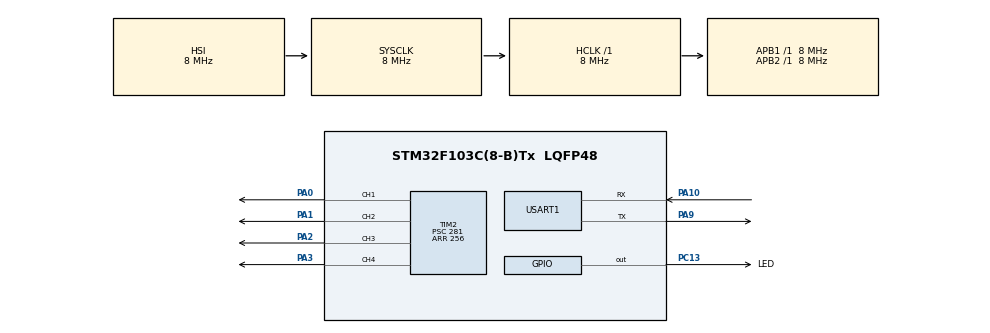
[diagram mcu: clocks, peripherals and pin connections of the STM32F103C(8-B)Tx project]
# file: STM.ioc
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Mcu.Family=STM32F1
Mcu.Name=STM32F103C(8-B)Tx
Mcu.Package=LQFP48
NVIC.PriorityGroup=NVIC_PRIORITYGROUP_4
NVIC.TIM2_IRQn=true\:0\:0\:false\:false\:true\:true\:true
PA0-WKUP.GPIO_Speed=GPIO_SPEED_FREQ_HIGH
PA0-WKUP.Signal=S_TIM2_CH1_ETR
PA1.GPIO_Speed=GPIO_SPEED_FREQ_HIGH
PA1.Signal=S_TIM2_CH2
PA10.Mode=Asynchronous
PA10.Signal=USART1_RX
PA2.GPIO_Speed=GPIO_SPEED_FREQ_HIGH
PA2.Signal=S_TIM2_CH3
PA3.GPIO_Speed=GPIO_SPEED_FREQ_HIGH
PA3.Signal=S_TIM2_CH4
PA9.Mode=Asynchronous
PA9.Signal=USART1_TX
PC13-TAMPER-RTC.GPIO_Label=LED
PC13-TAMPER-RTC.Signal=GPIO_Output
PD0-OSC_IN.Mode=HSE-External-Oscillator
PD0-OSC_IN.Signal=RCC_OSC_IN
PD1-OSC_OUT.Mode=HSE-External-Oscillator
PD1-OSC_OUT.Signal=RCC_OSC_OUT
ProjectManager.HeapSize=0x200
ProjectManager.StackSize=0x400
ProjectManager.TargetToolchain=MDK-ARM V5
RCC.AHBFreq_Value=8000000
RCC.APB1Freq_Value=8000000
RCC.APB1TimFreq_Value=8000000
RCC.APB2Freq_Value=8000000
RCC.APB2TimFreq_Value=8000000
RCC.HCLKFreq_Value=8000000
RCC.SYSCLKFreq_VALUE=8000000
RCC.USBFreq_Value=8000000
SH.S_TIM2_CH1_ETR.0=TIM2_CH1,PWM Generation1 CH1
SH.S_TIM2_CH2.0=TIM2_CH2,PWM Generation2 CH2
SH.S_TIM2_CH3.0=TIM2_CH3,PWM Generation3 CH3
SH.S_TIM2_CH4.0=TIM2_CH4,PWM Generation4 CH4
TIM2.Channel-PWM\ Generation1\ CH1=TIM_CHANNEL_1
TIM2.Channel-PWM\ Generation2\ CH2=TIM_CHANNEL_2
TIM2.Channel-PWM\ Generation3\ CH3=TIM_CHANNEL_3
TIM2.Channel-PWM\ Generation4\ CH4=TIM_CHANNEL_4
TIM2.Period=256
TIM2.Prescaler=281
USART1.VirtualMode=VM_ASYNC
VP_SYS_VS_ND.Mode=No_Debug
VP_TIM2_VS_ClockSourceINT.Mode=Internal
board=custom

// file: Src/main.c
/* USER CODE BEGIN Header */
/**
  ******************************************************************************
  * @file           : main.c
  * @brief          : Main program body
  ******************************************************************************
  * @attention
  *
  * <h2><center>&copy; Copyright (c) 2020 STMicroelectronics.
  * All rights reserved.</center></h2>
  *
  * This software component is licensed by ST under BSD 3-Clause license,
  * the "License"; You may not use this file except in compliance with the
  * License. You may obtain a copy of the License at:
  *                        opensource.org/licenses/BSD-3-Clause
  *
  ******************************************************************************
  */
/* USER CODE END Header */

#include "main.h"
#include "tim.h"
#include "usart.h"
#include "gpio.h"

/* USER CODE BEGIN PV */

#define EN1A_CH 		TIM_CHANNEL_1
#define EN1B_CH 		TIM_CHANNEL_2
#define EN2A_CH 		TIM_CHANNEL_3
#define EN2B_CH 		TIM_CHANNEL_4

#define EN_TIM 			htim2

/* USER CODE END PV */

void SystemClock_Config(void);
/* USER CODE BEGIN PFP */

void EN_stop(){
	__HAL_TIM_SET_COMPARE(&EN_TIM, EN1A_CH, 0);
	__HAL_TIM_SET_COMPARE(&EN_TIM, EN1B_CH, 0);
	__HAL_TIM_SET_COMPARE(&EN_TIM, EN2A_CH, 0);
	__HAL_TIM_SET_COMPARE(&EN_TIM, EN2B_CH, 0);
}

void forward(uint8_t speed){
	EN_stop();
	__HAL_TIM_SET_COMPARE(&EN_TIM, EN1A_CH, speed);
	__HAL_TIM_SET_COMPARE(&EN_TIM, EN2A_CH, speed);
}

void backward(uint8_t speed){
	EN_stop();
	__HAL_TIM_SET_COMPARE(&EN_TIM, EN1B_CH, speed);
	__HAL_TIM_SET_COMPARE(&EN_TIM, EN2B_CH, speed);
}

void left(uint8_t speed){
	EN_stop();
	__HAL_TIM_SET_COMPARE(&EN_TIM, EN1A_CH, speed);
	__HAL_TIM_SET_COMPARE(&EN_TIM, EN2B_CH, speed);
}

void right(uint8_t speed){
	EN_stop();
	__HAL_TIM_SET_COMPARE(&EN_TIM, EN1B_CH, speed);
	__HAL_TIM_SET_COMPARE(&EN_TIM, EN2A_CH, speed);
}

/* USER CODE END PFP */

int main(void)
{

  /* MCU Configuration--------------------------------------------------------*/

  /* Reset of all peripherals, Initializes the Flash interface and the Systick. */
  HAL_Init();

  /* Configure the system clock */
  SystemClock_Config();

  /* Initialize all configured peripherals */
  MX_GPIO_Init();
  MX_USART1_UART_Init();
  MX_TIM2_Init();
  /* USER CODE BEGIN 2 */

	//HAL_TIM_PWM_Init(&htim2);

	HAL_TIM_Base_Start(&EN_TIM);

	HAL_TIM_PWM_Start(&EN_TIM, EN1A_CH);
	HAL_TIM_PWM_Start(&EN_TIM, EN1B_CH);
  HAL_TIM_PWM_Start(&EN_TIM, EN2A_CH);
	HAL_TIM_PWM_Start(&EN_TIM, EN2B_CH);

  /* USER CODE END 2 */

  /* Infinite loop */
  /* USER CODE BEGIN WHILE */
  while (1)
  {

		//for(uint8_t i = 0; i < 250; i++){
		//	__HAL_TIM_SET_COMPARE(&htim2, TIM_CHANNEL_1, i);
		//	HAL_Delay(10);
		//}

		uint8_t data;

		while(HAL_UART_Receive(&huart1, &data, 1, 100) != HAL_OK);

		switch(data){
			case '2':
				forward(255);
			break;
			case '3':
				backward(255);
			break;
			case '4':
				left(255);
			break;
			case '5':
				right(255);
			break;
			default:
				EN_stop();
			break;
		}

		if(data == '2'){

		}else if(data == '0'){

		}

    /* USER CODE END WHILE */

  }
}

void SystemClock_Config(void)
{
  RCC_OscInitTypeDef RCC_OscInitStruct = {0};
  RCC_ClkInitTypeDef RCC_ClkInitStruct = {0};

  /** Initializes the CPU, AHB and APB busses clocks
  */
  RCC_OscInitStruct.OscillatorType = RCC_OSCILLATORTYPE_HSI;
  RCC_OscInitStruct.HSIState = RCC_HSI_ON;
  RCC_OscInitStruct.HSICalibrationValue = RCC_HSICALIBRATION_DEFAULT;
  RCC_OscInitStruct.PLL.PLLState = RCC_PLL_NONE;
  if (HAL_RCC_OscConfig(&RCC_OscInitStruct) != HAL_OK)
  {
    Error_Handler();
  }
  /** Initializes the CPU, AHB and APB busses clocks
  */
  RCC_ClkInitStruct.ClockType = RCC_CLOCKTYPE_HCLK|RCC_CLOCKTYPE_SYSCLK
                              |RCC_CLOCKTYPE_PCLK1|RCC_CLOCKTYPE_PCLK2;
  RCC_ClkInitStruct.SYSCLKSource = RCC_SYSCLKSOURCE_HSI;
  RCC_ClkInitStruct.AHBCLKDivider = RCC_SYSCLK_DIV1;
  RCC_ClkInitStruct.APB1CLKDivider = RCC_HCLK_DIV1;
  RCC_ClkInitStruct.APB2CLKDivider = RCC_HCLK_DIV1;

  if (HAL_RCC_ClockConfig(&RCC_ClkInitStruct, FLASH_LATENCY_0) != HAL_OK)
  {
    Error_Handler();
  }
}

void Error_Handler(void)
{
}

/************************ (C) COPYRIGHT STMicroelectronics *****END OF FILE****/
